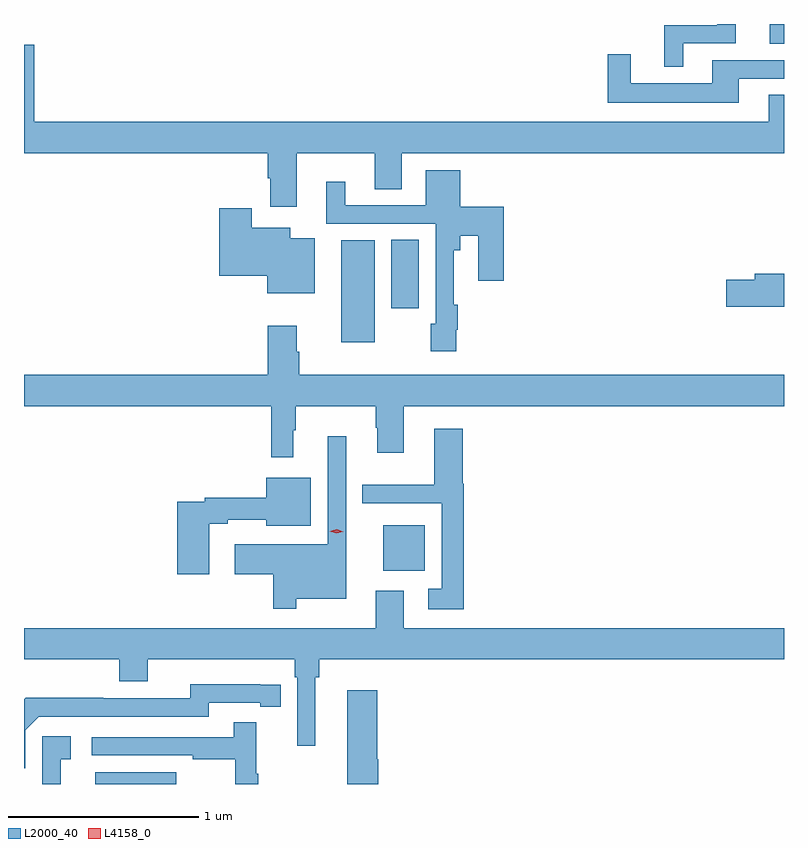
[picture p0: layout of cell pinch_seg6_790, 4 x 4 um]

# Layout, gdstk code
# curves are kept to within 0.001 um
import gdstk
lib = gdstk.Library(unit=1e-6, precision=1e-09)
def R(c, l, rs):  # rectangles x0, y0, x1, y1
    for r in rs: c.add(gdstk.rectangle(r[:2], r[2:], *l))
def P(c, l, *ps):  # polygons
    for p in ps: c.add(gdstk.Polygon(p, *l))
L2000_40 = (2000, 40)
L4158_0 = (4158, 0)

pinch_seg6_790 = lib.new_cell('pinch_seg6_790')
R(pinch_seg6_790, L2000_40, [(231.944,971.987,232.372,972.049), (233.462,973.109,233.68,973.348), (233.24,974.312,233.416,974.848), (233.504,974.49,233.647,974.852), (235.496,975.884,235.57,975.987)])
P(pinch_seg6_790, L2000_40, [(235.039,975.885),(235.316,975.885),(235.316,975.987),(235.218,975.987),(235.218,975.981),(234.941,975.981),(234.941,975.761),(235.039,975.761)],
  [(233.005,975.308),(233.417,975.308),(233.417,975.118),(233.557,975.118),(233.557,975.308),(235.57,975.308),(235.57,975.614),(235.49,975.614),(235.49,975.472),(231.623,975.472),(231.623,975.877),(231.57,975.877),(231.57,975.308),(232.853,975.308),(232.853,975.174),(232.865,975.174),(232.865,975.024),(233.005,975.024)],
  [(235.333,975.699),(235.57,975.699),(235.57,975.795),(235.193,975.795),(235.193,975.676),(234.763,975.676),(234.763,975.829),(234.642,975.829),(234.642,975.572),(235.333,975.572)],
  [(233.845,974.377),(233.852,974.377),(233.852,974.509),(233.832,974.509),(233.832,974.795),(233.866,974.795),(233.866,974.873),(233.96,974.873),(233.96,974.637),(234.095,974.637),(234.095,975.025),(233.866,975.025),(233.866,975.217),(233.684,975.217),(233.684,975.033),(233.26,975.033),(233.26,975.157),(233.162,975.157),(233.162,974.937),(233.736,974.937),(233.736,974.409),(233.71,974.409),(233.71,974.265),(233.845,974.265)],
  [(233.101,974.86),(232.972,974.86),(232.972,974.914),(232.768,974.914),(232.768,975.016),(232.598,975.016),(232.598,974.663),(232.85,974.663),(232.85,974.57),(233.101,974.57)],
  [(235.57,974.672),(235.415,974.672),(235.415,974.642),(235.266,974.642),(235.266,974.5),(235.57,974.5)],
  [(232.988,973.85),(232.999,973.85),(232.999,973.976),(233.422,973.976),(233.422,973.862),(233.429,973.862),(233.429,973.731),(233.569,973.731),(233.569,973.976),(235.57,973.976),(235.57,974.14),(233.018,974.14),(233.018,974.261),(233.005,974.261),(233.005,974.398),(232.853,974.398),(232.853,974.14),(231.57,974.14),(231.57,973.976),(232.87,973.976),(232.87,973.707),(232.988,973.707)],
  [(233.885,973.567),(233.879,973.567),(233.879,973.858),(233.729,973.858),(233.729,973.561),(233.35,973.561),(233.35,973.464),(233.769,973.464),(233.769,973.015),(233.697,973.015),(233.697,972.906),(233.885,972.906)],
  [(233.002,972.962),(233.267,972.962),(233.267,973.339),(233.265,973.339),(233.265,973.816),(233.169,973.816),(233.169,973.249),(232.68,973.249),(232.68,973.091),(232.881,973.091),(232.881,972.909),(233.002,972.909)],
  [(232.546,973.357),(232.642,973.357),(232.642,973.377),(232.844,973.377),(232.844,973.346),(233.08,973.346),(233.08,973.6),(232.844,973.6),(232.844,973.493),(232.522,973.493),(232.522,973.473),(232.376,973.473),(232.376,973.092),(232.546,973.092)],
  [(233.104,972.548),(233.123,972.548),(233.123,972.644),(235.57,972.644),(235.57,972.808),(233.569,972.808),(233.569,973.003),(233.42,973.003),(233.42,972.808),(231.57,972.808),(231.57,972.644),(232.07,972.644),(232.07,972.527),(232.222,972.527),(232.222,972.644),(232.994,972.644),(232.994,972.548),(233.007,972.548),(233.007,972.189),(233.104,972.189)],
  [(231.576,972.27),(231.648,972.342),(232.542,972.342),(232.542,972.414),(232.814,972.414),(232.814,972.394),(232.922,972.394),(232.922,972.51),(232.446,972.511),(232.446,972.438),(231.986,972.438),(231.986,972.44),(231.578,972.44),(231.57,972.432),(231.57,972.069),(231.576,972.069)],
  [(233.434,972.117),(233.429,972.117),(233.429,972.481),(233.27,972.481),(233.27,971.987),(233.434,971.987)],
  [(232.804,972.041),(232.793,972.041),(232.793,972.313),(232.675,972.313),(232.675,972.234),(231.927,972.234),(231.927,972.138),(232.459,972.138),(232.459,972.118),(232.683,972.118),(232.683,971.987),(232.804,971.987)],
  [(231.764,972.117),(231.817,972.117),(231.817,972.238),(231.666,972.238),(231.666,971.987),(231.764,971.987)])
P(pinch_seg6_790, L4158_0, [(233.214,973.307),(233.179,973.318),(233.179,973.318),(233.179,973.318),(233.215,973.327),(233.25,973.315),(233.25,973.315),(233.25,973.315)])

lib.write_gds('pinch_seg6_790.gds')
